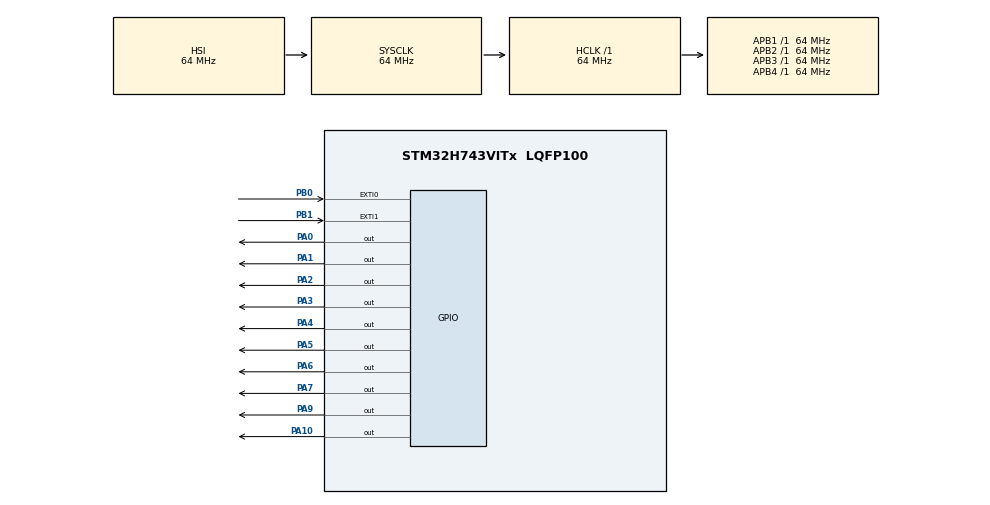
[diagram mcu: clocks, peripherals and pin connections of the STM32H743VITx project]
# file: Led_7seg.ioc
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CORTEX_M7.default_mode_Activation=1
Mcu.Family=STM32H7
Mcu.Name=STM32H743VITx
Mcu.Package=LQFP100
NVIC.EXTI0_IRQn=true\:1\:0\:true\:false\:true\:true\:true\:true
NVIC.EXTI1_IRQn=true\:2\:0\:true\:false\:true\:true\:true\:true
NVIC.PriorityGroup=NVIC_PRIORITYGROUP_4
PA0.Signal=GPIO_Output
PA1.Signal=GPIO_Output
PA10.Signal=GPIO_Output
PA2.Signal=GPIO_Output
PA3.Signal=GPIO_Output
PA4.Signal=GPIO_Output
PA5.Signal=GPIO_Output
PA6.Signal=GPIO_Output
PA7.Signal=GPIO_Output
PA9.Signal=GPIO_Output
PB0.GPIO_ModeDefaultEXTI=GPIO_MODE_IT_FALLING
PB0.GPIO_PuPd=GPIO_PULLUP
PB0.Signal=GPXTI0
PB1.GPIO_ModeDefaultEXTI=GPIO_MODE_IT_FALLING
PB1.GPIO_PuPd=GPIO_PULLUP
PB1.Signal=GPXTI1
PH0-OSC_IN\ (PH0).Mode=HSE-External-Oscillator
PH0-OSC_IN\ (PH0).Signal=RCC_OSC_IN
PH1-OSC_OUT\ (PH1).Mode=HSE-External-Oscillator
PH1-OSC_OUT\ (PH1).Signal=RCC_OSC_OUT
ProjectManager.HeapSize=0x200
ProjectManager.StackSize=0x400
ProjectManager.TargetToolchain=STM32CubeIDE
RCC.ADCFreq_Value=80000000
RCC.APB1Freq_Value=64000000
RCC.APB2Freq_Value=64000000
RCC.APB3Freq_Value=64000000
RCC.APB4Freq_Value=64000000
RCC.CortexFreq_Value=64000000
RCC.DIVM2=4
RCC.DIVN2=10
RCC.HCLKFreq_Value=64000000
RCC.PLL2FRACN=0
RCC.SYSCLKFreq_VALUE=64000000
RCC.USBFreq_Value=129000000
TIM3.Period=999
TIM3.Prescaler=63
VP_MEMORYMAP_VS_MEMORYMAP.Mode=CurAppReg
VP_TIM3_VS_ClockSourceINT.Mode=Internal
board=custom

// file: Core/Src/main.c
/* USER CODE BEGIN Header */
/**
  ******************************************************************************
  * @file           : main.c
  * @brief          : Main program body
  ******************************************************************************
  * @attention
  *
  * Copyright (c) 2025 STMicroelectronics.
  * All rights reserved.
  *
  * This software is licensed under terms that can be found in the LICENSE file
  * in the root directory of this software component.
  * If no LICENSE file comes with this software, it is provided AS-IS.
  *
  ******************************************************************************
  */
/* USER CODE END Header */
#include "main.h"

/* USER CODE BEGIN PD */
/* USER CODE BEGIN Private defines */
/* Declare previous_time as a global variable without initialization */
uint32_t previous_time;

/* GPIO Pin Definitions (Adjust based on your pin assignments) */
#define SEG_A_PIN GPIO_PIN_0 //pin 10 led
#define SEG_B_PIN GPIO_PIN_1 //pin 9 led
#define SEG_C_PIN GPIO_PIN_2 //pin 1 led
#define SEG_D_PIN GPIO_PIN_3 //pin 4 led
#define SEG_E_PIN GPIO_PIN_4 //pin 3 led
#define SEG_F_PIN GPIO_PIN_5 //pin 6 led
#define SEG_G_PIN GPIO_PIN_6 //pin 5 led
#define SEG_DP_PIN GPIO_PIN_7 //pin 2 led
#define SEG_PORT GPIOA

#define DIGIT1_PIN GPIO_PIN_9 // Units digit (common anode)
#define DIGIT2_PIN GPIO_PIN_10 // Tens digit (common anode)
#define DIGIT_PORT GPIOA

/* Button Pins */
#define BUTTON_DEC_PIN GPIO_PIN_0 // PB0: Decrease count
#define BUTTON_INC_PIN GPIO_PIN_1 // PB1: Increase count
/* USER CODE END Private defines */
/* USER CODE END PD */

TIM_HandleTypeDef htim3;
/* Private variables */
static volatile uint8_t count = 1; // Start from 01, declared globally
volatile uint8_t inc_flag = 0;
volatile uint8_t dec_flag = 0;

void SystemClock_Config(void);
static void MPU_Config(void);
static void MX_GPIO_Init(void);
static void MX_TIM3_Init(void);

/* USER CODE BEGIN 0 */
/* 7-segment display patterns for digits 0-9 (common anode, active LOW) */
static const uint8_t segment_patterns[10] = {
    0xC0, // 0
    0xF9, // 1
    0xA4, // 2
    0xB0, // 3
    0x99, // 4
    0x92, // 5
    0x82, // 6
    0xF8, // 7
    0x80, // 8
    0x90  // 9
};

/* Function to display a digit on the 7-segment */
void display_digit(uint8_t digit, uint8_t position) {
    // Turn off both digits
    HAL_GPIO_WritePin(DIGIT_PORT, DIGIT1_PIN, GPIO_PIN_SET);
    HAL_GPIO_WritePin(DIGIT_PORT, DIGIT2_PIN, GPIO_PIN_SET);

    // Set segment pattern
    uint8_t pattern = segment_patterns[digit];
    HAL_GPIO_WritePin(SEG_PORT, SEG_A_PIN, (pattern & (1 << 0)) ? GPIO_PIN_SET : GPIO_PIN_RESET);
    HAL_GPIO_WritePin(SEG_PORT, SEG_B_PIN, (pattern & (1 << 1)) ? GPIO_PIN_SET : GPIO_PIN_RESET);
    HAL_GPIO_WritePin(SEG_PORT, SEG_C_PIN, (pattern & (1 << 2)) ? GPIO_PIN_SET : GPIO_PIN_RESET);
    HAL_GPIO_WritePin(SEG_PORT, SEG_D_PIN, (pattern & (1 << 3)) ? GPIO_PIN_SET : GPIO_PIN_RESET);
    HAL_GPIO_WritePin(SEG_PORT, SEG_E_PIN, (pattern & (1 << 4)) ? GPIO_PIN_SET : GPIO_PIN_RESET);
    HAL_GPIO_WritePin(SEG_PORT, SEG_F_PIN, (pattern & (1 << 5)) ? GPIO_PIN_SET : GPIO_PIN_RESET);
    HAL_GPIO_WritePin(SEG_PORT, SEG_G_PIN, (pattern & (1 << 6)) ? GPIO_PIN_SET : GPIO_PIN_RESET);
    HAL_GPIO_WritePin(SEG_PORT, SEG_DP_PIN, GPIO_PIN_SET); // Decimal point OFF

    // Enable the selected digit (common anode, SET to turn ON)
    if (position == 1) {
        HAL_GPIO_WritePin(DIGIT_PORT, DIGIT1_PIN, GPIO_PIN_RESET); // Units digit
    } else if (position == 2) {
        HAL_GPIO_WritePin(DIGIT_PORT, DIGIT2_PIN, GPIO_PIN_RESET); // Tens digit
    }
}

/* Function to refresh the display with uniform timing */
void refresh_display(uint8_t tens_digit, uint8_t units_digit) {
    // Display tens digit
    display_digit(tens_digit, 2);
    HAL_Delay(2); // Fixed display time of 2ms

    // Display units digit
    display_digit(units_digit, 1);
    HAL_Delay(2); // Fixed display time of 2ms
}

//callback
void HAL_GPIO_EXTI_Callback(uint16_t GPIO_Pin) {
    if (GPIO_Pin == BUTTON_INC_PIN) {
        inc_flag = 1;
    } else if (GPIO_Pin == BUTTON_DEC_PIN) {
        dec_flag = 1;
    }
}

/* Simple delay function */
void delay_ms(uint32_t ms) {
    HAL_Delay(ms);
}
/* USER CODE END 0 */

int main(void)
{

  /* MPU Configuration--------------------------------------------------------*/
  MPU_Config();

  /* MCU Configuration--------------------------------------------------------*/

  /* Reset of all peripherals, Initializes the Flash interface and the Systick. */
  HAL_Init();

  /* Configure the system clock */
  SystemClock_Config();

  /* Initialize all configured peripherals */
  MX_GPIO_Init();
  MX_TIM3_Init();
  /* USER CODE BEGIN 2 */

  // Bắt đầu PWM trên kênh TIM2 Channel 1
     HAL_TIM_PWM_Start(&htim3, TIM_CHANNEL_3);
     uint32_t last_btn_tick = 0;
  /* USER CODE END 2 */

  /* Infinite loop */
  /* USER CODE BEGIN WHILE */
  while (1)
  {
	  // Extract tens and units digits
//	          uint8_t tens_digit = count / 10;
//	          uint8_t units_digit = count % 10;
//
//	          // Continuously refresh the display
//	          for (uint8_t i = 0; i < 50; i++) { // Loop 50 times for high refresh rate
//	              refresh_display(tens_digit, units_digit);
//	          }
//
//	          // Update count every 500ms
//	          if (HAL_GetTick() - previous_time >= 500) {
//	              count++;
//	              if (count > 99) {
//	                  count = 1; // Loop back to 01
//	              }
//	              previous_time = HAL_GetTick();
//	          }

	  uint32_t now = HAL_GetTick();
	         if (inc_flag && (now - last_btn_tick) > 200) {
	             inc_flag = 0;
	             if (count < 99) count++; else count = 1;
	             last_btn_tick = now;
	         }
	         if (dec_flag && (now - last_btn_tick) > 200) {
	             dec_flag = 0;
	             if (count > 1) count--;
	             last_btn_tick = now;
	         }

	         uint8_t tens_digit = count / 10;
	         uint8_t units_digit = count % 10;
	         refresh_display(tens_digit, units_digit);

    /* USER CODE END WHILE */

  }
}

void SystemClock_Config(void)
{
  RCC_OscInitTypeDef RCC_OscInitStruct = {0};
  RCC_ClkInitTypeDef RCC_ClkInitStruct = {0};

  /** Supply configuration update enable
  */
  HAL_PWREx_ConfigSupply(PWR_LDO_SUPPLY);

  /** Configure the main internal regulator output voltage
  */
  __HAL_PWR_VOLTAGESCALING_CONFIG(PWR_REGULATOR_VOLTAGE_SCALE3);

  while(!__HAL_PWR_GET_FLAG(PWR_FLAG_VOSRDY)) {}

  /** Initializes the RCC Oscillators according to the specified parameters
  * in the RCC_OscInitTypeDef structure.
  */
  RCC_OscInitStruct.OscillatorType = RCC_OSCILLATORTYPE_HSI;
  RCC_OscInitStruct.HSIState = RCC_HSI_DIV1;
  RCC_OscInitStruct.HSICalibrationValue = RCC_HSICALIBRATION_DEFAULT;
  RCC_OscInitStruct.PLL.PLLState = RCC_PLL_NONE;
  if (HAL_RCC_OscConfig(&RCC_OscInitStruct) != HAL_OK)
  {
    Error_Handler();
  }

  /** Initializes the CPU, AHB and APB buses clocks
  */
  RCC_ClkInitStruct.ClockType = RCC_CLOCKTYPE_HCLK|RCC_CLOCKTYPE_SYSCLK
                              |RCC_CLOCKTYPE_PCLK1|RCC_CLOCKTYPE_PCLK2
                              |RCC_CLOCKTYPE_D3PCLK1|RCC_CLOCKTYPE_D1PCLK1;
  RCC_ClkInitStruct.SYSCLKSource = RCC_SYSCLKSOURCE_HSI;
  RCC_ClkInitStruct.SYSCLKDivider = RCC_SYSCLK_DIV1;
  RCC_ClkInitStruct.AHBCLKDivider = RCC_HCLK_DIV1;
  RCC_ClkInitStruct.APB3CLKDivider = RCC_APB3_DIV1;
  RCC_ClkInitStruct.APB1CLKDivider = RCC_APB1_DIV1;
  RCC_ClkInitStruct.APB2CLKDivider = RCC_APB2_DIV1;
  RCC_ClkInitStruct.APB4CLKDivider = RCC_APB4_DIV1;

  if (HAL_RCC_ClockConfig(&RCC_ClkInitStruct, FLASH_LATENCY_1) != HAL_OK)
  {
    Error_Handler();
  }
}

static void MX_TIM3_Init(void)
{

  TIM_ClockConfigTypeDef sClockSourceConfig = {0};
  TIM_MasterConfigTypeDef sMasterConfig = {0};

  htim3.Instance = TIM3;
  htim3.Init.Prescaler = 63;
  htim3.Init.CounterMode = TIM_COUNTERMODE_UP;
  htim3.Init.Period = 999;
  htim3.Init.ClockDivision = TIM_CLOCKDIVISION_DIV1;
  htim3.Init.AutoReloadPreload = TIM_AUTORELOAD_PRELOAD_DISABLE;
  if (HAL_TIM_Base_Init(&htim3) != HAL_OK)
  {
    Error_Handler();
  }
  sClockSourceConfig.ClockSource = TIM_CLOCKSOURCE_INTERNAL;
  if (HAL_TIM_ConfigClockSource(&htim3, &sClockSourceConfig) != HAL_OK)
  {
    Error_Handler();
  }
  sMasterConfig.MasterOutputTrigger = TIM_TRGO_RESET;
  sMasterConfig.MasterSlaveMode = TIM_MASTERSLAVEMODE_DISABLE;
  if (HAL_TIMEx_MasterConfigSynchronization(&htim3, &sMasterConfig) != HAL_OK)
  {
    Error_Handler();
  }

}

static void MX_GPIO_Init(void)
{
  GPIO_InitTypeDef GPIO_InitStruct = {0};

  /* GPIO Ports Clock Enable */
  __HAL_RCC_GPIOH_CLK_ENABLE();
  __HAL_RCC_GPIOA_CLK_ENABLE();
  __HAL_RCC_GPIOB_CLK_ENABLE();

  /*Configure GPIO pin Output Level */
  HAL_GPIO_WritePin(GPIOA, GPIO_PIN_0|GPIO_PIN_1|GPIO_PIN_2|GPIO_PIN_3
                          |GPIO_PIN_4|GPIO_PIN_5|GPIO_PIN_6|GPIO_PIN_7
                          |GPIO_PIN_9|GPIO_PIN_10, GPIO_PIN_RESET);

  /*Configure GPIO pins : PA0 PA1 PA2 PA3
                           PA4 PA5 PA6 PA7
                           PA9 PA10 */
  GPIO_InitStruct.Pin = GPIO_PIN_0|GPIO_PIN_1|GPIO_PIN_2|GPIO_PIN_3
                          |GPIO_PIN_4|GPIO_PIN_5|GPIO_PIN_6|GPIO_PIN_7
                          |GPIO_PIN_9|GPIO_PIN_10;
  GPIO_InitStruct.Mode = GPIO_MODE_OUTPUT_PP;
  GPIO_InitStruct.Pull = GPIO_NOPULL;
  GPIO_InitStruct.Speed = GPIO_SPEED_FREQ_LOW;
  HAL_GPIO_Init(GPIOA, &GPIO_InitStruct);

  /*Configure GPIO pins : PB0 PB1 */
  GPIO_InitStruct.Pin = GPIO_PIN_0|GPIO_PIN_1;
  GPIO_InitStruct.Mode = GPIO_MODE_IT_FALLING;
  GPIO_InitStruct.Pull = GPIO_PULLUP;
  HAL_GPIO_Init(GPIOB, &GPIO_InitStruct);

  /* EXTI interrupt init*/
  HAL_NVIC_SetPriority(EXTI0_IRQn, 1, 0);
  HAL_NVIC_EnableIRQ(EXTI0_IRQn);

  HAL_NVIC_SetPriority(EXTI1_IRQn, 2, 0);
  HAL_NVIC_EnableIRQ(EXTI1_IRQn);

}

 /* MPU Configuration */

void MPU_Config(void)
{
  MPU_Region_InitTypeDef MPU_InitStruct = {0};

  /* Disables the MPU */
  HAL_MPU_Disable();

  /** Initializes and configures the Region and the memory to be protected
  */
  MPU_InitStruct.Enable = MPU_REGION_ENABLE;
  MPU_InitStruct.Number = MPU_REGION_NUMBER0;
  MPU_InitStruct.BaseAddress = 0x0;
  MPU_InitStruct.Size = MPU_REGION_SIZE_4GB;
  MPU_InitStruct.SubRegionDisable = 0x87;
  MPU_InitStruct.TypeExtField = MPU_TEX_LEVEL0;
  MPU_InitStruct.AccessPermission = MPU_REGION_NO_ACCESS;
  MPU_InitStruct.DisableExec = MPU_INSTRUCTION_ACCESS_DISABLE;
  MPU_InitStruct.IsShareable = MPU_ACCESS_SHAREABLE;
  MPU_InitStruct.IsCacheable = MPU_ACCESS_NOT_CACHEABLE;
  MPU_InitStruct.IsBufferable = MPU_ACCESS_NOT_BUFFERABLE;

  HAL_MPU_ConfigRegion(&MPU_InitStruct);
  /* Enables the MPU */
  HAL_MPU_Enable(MPU_PRIVILEGED_DEFAULT);

}

void Error_Handler(void)
{
  __disable_irq();
  while (1)
  {
  }
}
